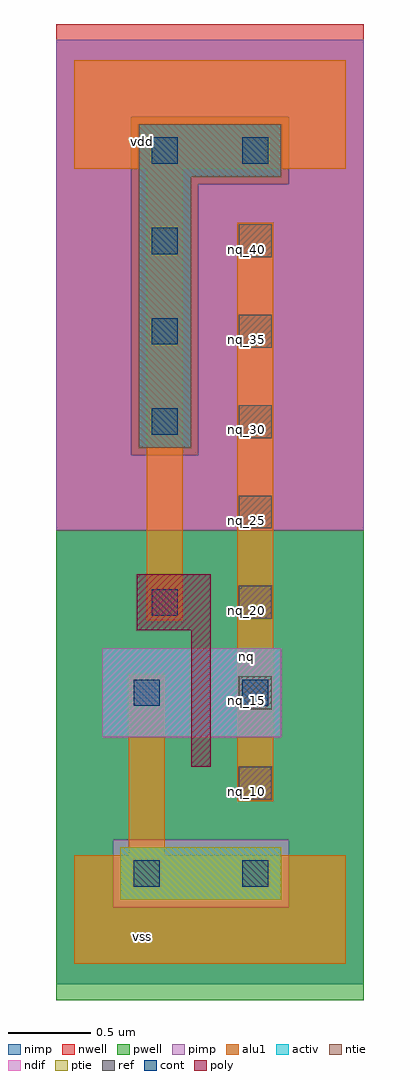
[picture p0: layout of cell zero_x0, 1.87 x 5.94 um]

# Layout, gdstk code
import gdstk
lib = gdstk.Library(unit=1e-6, precision=2.5e-09)
def R(c, l, rs):  # rectangles x0, y0, x1, y1
    for r in rs: c.add(gdstk.rectangle(r[:2], r[2:], *l))
def A(c, l, x, y, w, h, nx, ny, dx, dy):  # array of equal rectangles
    R(c, l, [(x+i*dx, y+j*dy, x+i*dx+w, y+j*dy+h) for i in range(nx) for j in range(ny)])
ndif = (3, 0)
ntie = (5, 0)
ptie = (6, 0)
ref = (24, 0)
cont = (25, 0)
pwell = (41, 0)
nwell = (42, 0)
activ = (43, 0)
pimp = (44, 0)
nimp = (45, 0)
poly = (46, 0)
alu1 = (49, 0)

zero_x0 = lib.new_cell('zero_x0')
R(zero_x0, ndif, [(0.17,1.38,1.26,1.92), (0.17,1.38,1.26,1.92)])
R(zero_x0, ntie, [(0.39,3.14,0.71,4.79), (0.39,3.14,0.71,4.79), (0.39,4.79,1.26,5.11), (0.39,4.79,1.26,5.11)])
R(zero_x0, ptie, [(0.28,0.39,1.26,0.71), (0.28,0.39,1.26,0.71)])
A(zero_x0, ref, 1, 1, 0.2, 0.2, 1, 7, 0, 0.55)
A(zero_x0, cont, 0.47, 3.22, 0.16, 0.16, 1, 4, 0, 0.55)
R(zero_x0, cont, [(0.36,0.47,0.52,0.63), (1.02,0.47,1.18,0.63), (0.36,1.57,0.52,1.73), (1.02,1.57,1.18,1.73), (0.47,2.12,0.63,2.28), (1.02,4.87,1.18,5.03)])
R(zero_x0, pwell, [(-0.11,-0.22,1.76,2.64)])
R(zero_x0, nwell, [(-0.11,2.64,1.76,5.72)])
R(zero_x0, activ, [(0.28,0.39,1.26,0.71), (0.28,0.39,1.26,0.71), (0.17,1.38,1.26,1.92), (0.17,1.38,1.26,1.92), (0.39,3.14,0.71,4.79), (0.39,3.14,0.71,4.79), (0.39,4.79,1.26,5.11), (0.39,4.79,1.26,5.11)])
R(zero_x0, pimp, [(0.235,0.345,1.305,0.755), (-0.11,2.64,1.76,3.095), (-0.11,3.095,0.345,5.155), (0.755,3.095,1.76,4.745), (1.305,4.745,1.76,5.155), (-0.11,5.155,1.76,5.625)])
R(zero_x0, nimp, [(-0.11,-0.125,1.76,0.345), (-0.11,0.345,0.235,0.755), (1.305,0.345,1.76,0.755), (-0.11,0.755,1.76,2.64), (0.345,3.095,0.755,4.745), (0.345,4.745,1.305,5.155)])
R(zero_x0, poly, [(0.71,1.2,0.83,2.03), (0.38,2.03,0.83,2.37)])
R(zero_x0, alu1, [(0,0,1.65,0.66), (0.33,0.66,0.55,1.76), (0.99,0.99,1.21,4.51), (0.44,2.09,0.66,4.84), (0,4.84,1.65,5.5)])
zero_x0.add(gdstk.Label('vss', (0.4125,0.165), layer=49, texttype=0))
zero_x0.add(gdstk.Label('nq', (1.045,1.87), layer=49, texttype=0))
zero_x0.add(gdstk.Label('vdd', (0.4125,5.005), layer=49, texttype=0))
zero_x0.add(gdstk.Label('nq_10', (1.05,1.05), layer=24, texttype=0))
zero_x0.add(gdstk.Label('nq_15', (1.05,1.6), layer=24, texttype=0))
zero_x0.add(gdstk.Label('nq_20', (1.05,2.15), layer=24, texttype=0))
zero_x0.add(gdstk.Label('nq_25', (1.05,2.7), layer=24, texttype=0))
zero_x0.add(gdstk.Label('nq_30', (1.05,3.25), layer=24, texttype=0))
zero_x0.add(gdstk.Label('nq_35', (1.05,3.8), layer=24, texttype=0))
zero_x0.add(gdstk.Label('nq_40', (1.05,4.35), layer=24, texttype=0))

lib.write_gds('zero_x0.gds')
